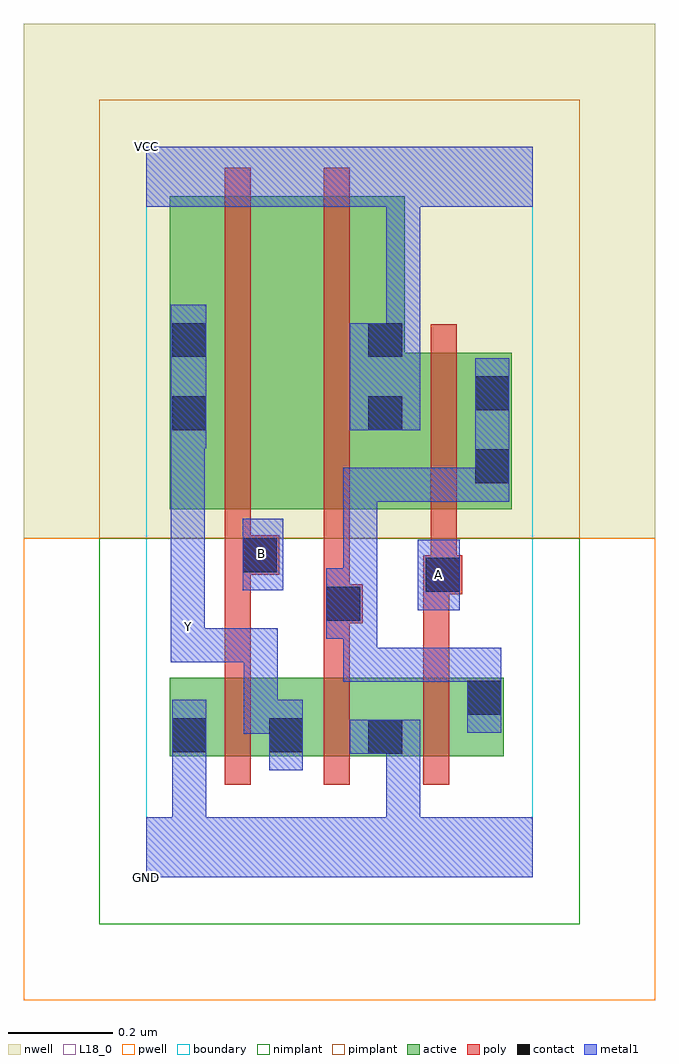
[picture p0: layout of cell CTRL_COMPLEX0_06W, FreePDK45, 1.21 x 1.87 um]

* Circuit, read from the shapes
.subckt CTRL_COMPLEX0_06W A B GND VCC Y
M1 Y B GND VSUBS nfet w=0.15u l=0.05u
M2 GND n1 Y VSUBS nfet w=0.15u l=0.05u
M3 n1 A GND VSUBS nfet w=0.15u l=0.05u
M4 n2 B Y n3 pfet w=0.6u l=0.05u
M5 VCC n1 n2 n3 pfet w=0.6u l=0.05u
M6 n1 A VCC n3 pfet w=0.3u l=0.05u
.ends

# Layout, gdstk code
import gdstk
lib = gdstk.Library(unit=1e-6, precision=1e-09)
def R(c, l, rs):  # rectangles x0, y0, x1, y1
    for r in rs: c.add(gdstk.rectangle(r[:2], r[2:], *l))
def A(c, l, x, y, w, h, nx, ny, dx, dy):  # array of equal rectangles
    R(c, l, [(x+i*dx, y+j*dy, x+i*dx+w, y+j*dy+h) for i in range(nx) for j in range(ny)])
active = (1, 0)
pwell = (2, 0)
nwell = (3, 0)
nimplant = (4, 0)
pimplant = (5, 0)
poly = (9, 0)
contact = (10, 0)
metal1 = (11, 0)
L18_0 = (18, 0)
boundary = (235, 0)

ctrl_complex0_06w = lib.new_cell('CTRL_COMPLEX0_06W')
R(ctrl_complex0_06w, active, [(0.045,0.232,0.305,0.382), (0.23,0.232,0.495,0.382), (0.42,0.232,0.685,0.382), (0.42,0.232,0.495,0.325), (0.045,0.235,0.12,0.382), (0.23,0.235,0.305,0.31), (0.61,0.235,0.685,0.382), (0.045,0.705,0.27,1.305), (0.045,0.705,0.15,1.2), (0.27,0.705,0.495,1.305), (0.42,0.705,0.7,1.005), (0.42,0.705,0.495,1.305), (0.625,0.705,0.7,1.005)])
R(ctrl_complex0_06w, pwell, [(-0.235,-0.235,0.975,0.65)])
R(ctrl_complex0_06w, nwell, [(-0.235,0.65,0.975,1.635)])
R(ctrl_complex0_06w, nimplant, [(-0.09,-0.09,0.83,0.65)])
R(ctrl_complex0_06w, pimplant, [(-0.09,0.65,0.83,1.49)])
A(ctrl_complex0_06w, poly, 0.15, 0.177, 0.05, 0.26, 3, 1, 0.19, 0)
R(ctrl_complex0_06w, poly, [(0.15,0.387,0.2,0.63), (0.34,0.387,0.39,0.537), (0.53,0.387,0.58,0.592), (0.34,0.487,0.415,0.562), (0.34,0.512,0.39,0.7), (0.53,0.542,0.605,0.617), (0.545,0.567,0.595,0.7), (0.15,0.58,0.255,0.655), (0.15,0.605,0.2,0.7), (0.15,0.65,0.2,1.36), (0.34,0.65,0.39,1.36), (0.545,0.65,0.595,1.06)])
R(ctrl_complex0_06w, contact, [(0.425,0.237,0.49,0.302), (0.05,0.24,0.115,0.305), (0.235,0.24,0.3,0.305), (0.615,0.312,0.68,0.377), (0.345,0.492,0.41,0.557), (0.535,0.547,0.6,0.612), (0.185,0.585,0.25,0.65), (0.63,0.755,0.695,0.82), (0.05,0.857,0.115,0.922), (0.425,0.857,0.49,0.922), (0.63,0.895,0.695,0.96), (0.05,0.997,0.115,1.062), (0.425,0.997,0.49,1.062)])
R(ctrl_complex0_06w, metal1, [(0,0,0.74,0.115), (0.05,0.05,0.115,0.115), (0.05,0.05,0.115,0.115), (0.05,0.05,0.115,0.115), (0.05,0.05,0.115,0.115), (0.05,0.05,0.115,0.115), (0.05,0.05,0.115,0.115), (0.05,0.05,0.115,0.27), (0.46,0.05,0.525,0.115), (0.46,0.05,0.525,0.115), (0.46,0.05,0.525,0.275), (0.05,0.205,0.115,0.34), (0.235,0.205,0.3,0.34), (0.46,0.21,0.525,0.275), (0.46,0.21,0.525,0.302), (0.39,0.237,0.525,0.302), (0.46,0.237,0.525,0.302), (0.46,0.237,0.525,0.302), (0.187,0.275,0.3,0.34), (0.187,0.275,0.252,0.477), (0.615,0.277,0.68,0.412), (0.615,0.347,0.68,0.412), (0.615,0.347,0.68,0.44), (0.377,0.375,0.442,0.44), (0.377,0.375,0.68,0.44), (0.377,0.375,0.442,0.522), (0.047,0.412,0.112,0.477), (0.047,0.412,0.112,0.477), (0.047,0.412,0.112,0.547), (0.047,0.412,0.252,0.477), (0.345,0.457,0.442,0.592), (0.377,0.457,0.442,0.522), (0.377,0.457,0.442,0.522), (0.377,0.457,0.442,0.785), (0.047,0.482,0.112,0.887), (0.52,0.512,0.6,0.647), (0.185,0.55,0.262,0.687), (0.377,0.72,0.442,0.785), (0.377,0.72,0.695,0.785), (0.63,0.72,0.695,0.785), (0.63,0.72,0.695,0.785), (0.63,0.72,0.695,0.995), (0.047,0.822,0.115,1.097), (0.39,0.857,0.525,1.062), (0.46,0.997,0.525,1.35), (0,1.285,0.74,1.4)])
R(ctrl_complex0_06w, L18_0, [(0,0,0.74,0.115), (0.05,0.05,0.115,0.115), (0.05,0.05,0.115,0.115), (0.05,0.05,0.115,0.115), (0.05,0.05,0.115,0.115), (0.05,0.05,0.115,0.115), (0.05,0.05,0.115,0.115), (0.05,0.05,0.115,0.27), (0.46,0.05,0.525,0.115), (0.46,0.05,0.525,0.115), (0.46,0.05,0.525,0.275), (0.05,0.205,0.115,0.34), (0.235,0.205,0.3,0.34), (0.46,0.21,0.525,0.275), (0.46,0.21,0.525,0.302), (0.39,0.237,0.525,0.302), (0.46,0.237,0.525,0.302), (0.46,0.237,0.525,0.302), (0.187,0.275,0.252,0.477), (0.187,0.275,0.3,0.34), (0.047,0.412,0.112,0.477), (0.047,0.412,0.112,0.477), (0.047,0.412,0.112,0.547), (0.047,0.412,0.252,0.477), (0.047,0.447,0.112,0.512), (0.047,0.482,0.112,0.887), (0.52,0.512,0.6,0.647), (0.527,0.547,0.592,0.612), (0.185,0.55,0.262,0.687), (0.187,0.587,0.252,0.652), (0.047,0.822,0.115,1.097), (0.39,0.857,0.525,1.062), (0.46,0.997,0.525,1.35), (0,1.285,0.74,1.4)])
R(ctrl_complex0_06w, boundary, [(0,0,0.74,1.4)])
ctrl_complex0_06w.add(gdstk.Label('A', (0.56,0.58), layer=11, texttype=0))
ctrl_complex0_06w.add(gdstk.Label('B', (0.22,0.62), layer=11, texttype=0))
ctrl_complex0_06w.add(gdstk.Label('Y', (0.08,0.48), layer=11, texttype=0))
ctrl_complex0_06w.add(gdstk.Label('VCC', (0,1.4), layer=11, texttype=0))
ctrl_complex0_06w.add(gdstk.Label('GND', (0,0), layer=11, texttype=0))

lib.write_gds('CTRL_COMPLEX0_06W.gds')
